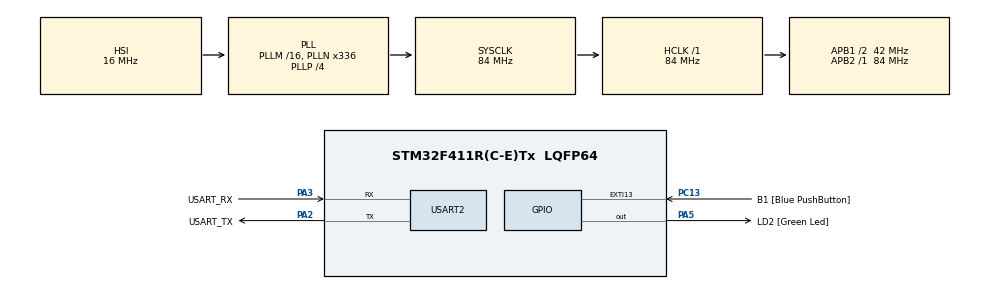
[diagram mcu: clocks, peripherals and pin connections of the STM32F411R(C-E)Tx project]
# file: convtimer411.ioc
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Mcu.Family=STM32F4
Mcu.Name=STM32F411R(C-E)Tx
Mcu.Package=LQFP64
NVIC.PriorityGroup=NVIC_PRIORITYGROUP_0
PA13.GPIO_Label=TMS
PA13.Mode=Serial_Wire
PA13.Signal=SYS_JTMS-SWDIO
PA14.GPIO_Label=TCK
PA14.Mode=Serial_Wire
PA14.Signal=SYS_JTCK-SWCLK
PA2.GPIO_Label=USART_TX
PA2.Mode=Asynchronous
PA2.Signal=USART2_TX
PA3.GPIO_Label=USART_RX
PA3.Mode=Asynchronous
PA3.Signal=USART2_RX
PA5.GPIO_Label=LD2 [Green Led]
PA5.Signal=GPIO_Output
PB3.GPIO_Label=SWO
PB3.Signal=SYS_JTDO-SWO
PC13-ANTI_TAMP.GPIO_Label=B1 [Blue PushButton]
PC13-ANTI_TAMP.GPIO_ModeDefaultEXTI=GPIO_MODE_IT_FALLING
PC13-ANTI_TAMP.Signal=GPXTI13
PC14-OSC32_IN.Mode=LSE-External-Oscillator
PC14-OSC32_IN.Signal=RCC_OSC32_IN
PC15-OSC32_OUT.Mode=LSE-External-Oscillator
PC15-OSC32_OUT.Signal=RCC_OSC32_OUT
PH0\ -\ OSC_IN.Mode=HSE-External-Clock-Source
PH0\ -\ OSC_IN.Signal=RCC_OSC_IN
PH1\ -\ OSC_OUT.Mode=HSE-External-Clock-Source
PH1\ -\ OSC_OUT.Signal=RCC_OSC_OUT
ProjectManager.HeapSize=0x200
ProjectManager.StackSize=0x400
ProjectManager.TargetToolchain=STM32CubeIDE
RCC.48MHZClocksFreq_Value=84000000
RCC.AHBFreq_Value=84000000
RCC.APB1CLKDivider=RCC_HCLK_DIV2
RCC.APB1Freq_Value=42000000
RCC.APB1TimFreq_Value=84000000
RCC.APB2Freq_Value=84000000
RCC.APB2TimFreq_Value=84000000
RCC.CortexFreq_Value=84000000
RCC.FLatency-AdvancedSettings=FLASH_LATENCY_2
RCC.HCLKFreq_Value=84000000
RCC.HSE_VALUE=8000000
RCC.HSI_VALUE=16000000
RCC.PLLN=336
RCC.PLLP=RCC_PLLP_DIV4
RCC.SYSCLKFreq_VALUE=84000000
RCC.SYSCLKSource=RCC_SYSCLKSOURCE_PLLCLK
RCC.VCOOutputFreq_Value=336000000
TIM2.Period=999
TIM2.Prescaler=31999
USART2.VirtualMode=VM_ASYNC
VP_TIM2_VS_ClockSourceINT.Mode=Internal
board=NUCLEO-F411RE

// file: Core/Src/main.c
/* USER CODE BEGIN Header */
/**
  ******************************************************************************
  * @file           : main.c
  * @brief          : Main program body
  ******************************************************************************
  * @attention
  *
  * Copyright (c) 2025 STMicroelectronics.
  * All rights reserved.
  *
  * This software is licensed under terms that can be found in the LICENSE file
  * in the root directory of this software component.
  * If no LICENSE file comes with this software, it is provided AS-IS.
  *
  ******************************************************************************
  */
/* USER CODE END Header */
#include "main.h"

/* USER CODE BEGIN Includes */
#include <string.h>
#include <math.h>
/* USER CODE END Includes */

/* USER CODE BEGIN PD */

/**
 * @brief Dimensão total do bloco recebido (com borda), 10×10 pixels.
 */
#define IMG_WIDTH_TOTAL   10
#define IMG_HEIGHT_TOTAL  10

/**
 * @brief Dimensão útil da imagem onde a convolução é aplicada (8×8 pixels).
 */
#define IMG_WIDTH_USEFUL  8
#define IMG_HEIGHT_USEFUL 8

/**
 * @brief Quantidade de bytes recebidos por bloco (imagem completa 10×10).
 */
#define BLOCK_RX_SIZE (IMG_WIDTH_TOTAL * IMG_HEIGHT_TOTAL)

/**
 * @brief Quantidade de bytes enviados após processamento (imagem 8×8).
 */
#define BLOCK_TX_SIZE (IMG_WIDTH_USEFUL * IMG_HEIGHT_USEFUL)

/* USER CODE END PD */

TIM_HandleTypeDef htim2;
UART_HandleTypeDef huart2;

/* USER CODE BEGIN PV */

/**
 * @brief Buffer de recepção contendo imagem 10×10 enviada pelo host.
 */
uint8_t rx_buffer[BLOCK_RX_SIZE];

/**
 * @brief Buffer de transmissão contendo imagem filtrada 8×8.
 */
uint8_t tx_buffer[BLOCK_TX_SIZE];

/**
 * @brief Sequência de reconhecimento (ACK). Enviada antes e depois de cada bloco.
 */
uint8_t ack[2] = { 0xAA, 0x55 };

uint32_t t_start, t_end, t_exec_us;

/**
 * @brief Kernel 3×3 utilizado no processamento.
 */
// Índices: 0  1  2  3  4
// Pesos:  -2 -1  0 +1 +2
static const int8_t weight_map[5] = { -2, -1, 0, 1, 2 };

/**
 * @brief LUT para multiplicação pixel × peso do kernel Sobel.
 * Dimensão: [256][5]
 */
static int16_t mul_lut[256][5];

#define NUM_BLOCKS 144

const uint8_t FilterIdx[3][3] = {
    { 1, 2, 3 },  // -1, 0, +1
    { 0, 2, 4 },  // -2, 0, +2
    { 1, 2, 3 }
};

/**
 * @brief Inicializa a LUT de multiplicação pixel × peso.
 */
void init_mul_lut(void)
{
    for (int pixel = 0; pixel < 256; pixel++) {
        for (int w = 0; w < 5; w++) {
            mul_lut[pixel][w] = pixel * weight_map[w];
        }
    }
}

/* USER CODE END PV */

void SystemClock_Config(void);
static void MX_GPIO_Init(void);
static void MX_USART2_UART_Init(void);
static void MX_TIM2_Init(void);
/* USER CODE BEGIN PFP */

/**
 * @brief Aplica convolução 3×3 somente na área útil (8×8) da imagem.
 *
 * @param input   Imagem de entrada 10×10 (com bordas).
 * @param output  Imagem de saída 8×8 (somente região central).
 * @param filter  Kernel 3×3 a ser aplicado.
 *
 * @details
 * A função ignora os pixels da borda, deslocando o índice adequadamente para
 * mapear a região útil. Valores de saída são saturados para o intervalo [0, 255].
 */
/* USER CODE END PFP */

int main(void)
{
    init_mul_lut();

    /* MCU Configuration------------------------------------------------------*/

    /* Reset of all peripherals, Initializes the Flash interface and the Systick. */
    HAL_Init();

    /* Configure the system clock */
    SystemClock_Config();

    /* Initialize all configured peripherals */
    MX_GPIO_Init();
    MX_USART2_UART_Init();
    MX_TIM2_Init();

    HAL_TIM_Base_Start(&htim2);

    /* Infinite loop */
    while (1) {

        /* USER CODE BEGIN 3 */
        char msg[64];

        uint32_t t_start, t_end, t_exec_us;

        uint8_t img_in[IMG_HEIGHT_TOTAL][IMG_WIDTH_TOTAL];
        uint8_t img_out[IMG_HEIGHT_USEFUL][IMG_WIDTH_USEFUL];

        /* Inicializa imagem apenas uma vez */
        for (int i = 0; i < IMG_HEIGHT_TOTAL; i++) {
            for (int j = 0; j < IMG_WIDTH_TOTAL; j++) {
                img_in[i][j] = i + j;
            }
        }

        /* Zera o timer para evitar overflow acumulado */
        __HAL_TIM_SET_COUNTER(&htim2, 0);

        /* Início da medição */
        t_start = __HAL_TIM_GET_COUNTER(&htim2);

        /* Executa a convolução 1000 vezes */
        for (int k = 0; k < 1000; k++) {
            apply_convolution_lut(img_in, img_out, FilterIdx);
        }

        /* Fim da medição */
        t_end = __HAL_TIM_GET_COUNTER(&htim2);

        /* Tempo total (assumindo TIM2 configurado em 1 MHz → 1 tick = 1 µs) */
        t_exec_us = t_end - t_start;

        unsigned long medio_us_x1000 = (t_exec_us * 1000UL) / 1000UL;

        int len = snprintf(
            msg,
            sizeof(msg),
            "Total: %lu us | Medio: %lu.%03lu us\r\n",
            (unsigned long)t_exec_us,
            medio_us_x1000 / 1000,
            medio_us_x1000 % 1000
        );

        HAL_UART_Transmit(&huart2, (uint8_t *)msg, len, HAL_MAX_DELAY);
        /* USER CODE END 3 */
    }
}

void SystemClock_Config(void)
{
    RCC_OscInitTypeDef RCC_OscInitStruct = { 0 };
    RCC_ClkInitTypeDef RCC_ClkInitStruct = { 0 };

    /** Configure the main internal regulator output voltage */
    __HAL_RCC_PWR_CLK_ENABLE();
    __HAL_PWR_VOLTAGESCALING_CONFIG(PWR_REGULATOR_VOLTAGE_SCALE1);

    /** Initializes the RCC Oscillators according to the specified parameters */
    RCC_OscInitStruct.OscillatorType = RCC_OSCILLATORTYPE_HSI;
    RCC_OscInitStruct.HSIState = RCC_HSI_ON;
    RCC_OscInitStruct.HSICalibrationValue = RCC_HSICALIBRATION_DEFAULT;
    RCC_OscInitStruct.PLL.PLLState = RCC_PLL_ON;
    RCC_OscInitStruct.PLL.PLLSource = RCC_PLLSOURCE_HSI;
    RCC_OscInitStruct.PLL.PLLM = 16;
    RCC_OscInitStruct.PLL.PLLN = 336;
    RCC_OscInitStruct.PLL.PLLP = RCC_PLLP_DIV4;
    RCC_OscInitStruct.PLL.PLLQ = 4;

    if (HAL_RCC_OscConfig(&RCC_OscInitStruct) != HAL_OK) {
        Error_Handler();
    }

    /** Initializes the CPU, AHB and APB buses clocks */
    RCC_ClkInitStruct.ClockType =
        RCC_CLOCKTYPE_HCLK |
        RCC_CLOCKTYPE_SYSCLK |
        RCC_CLOCKTYPE_PCLK1 |
        RCC_CLOCKTYPE_PCLK2;

    RCC_ClkInitStruct.SYSCLKSource   = RCC_SYSCLKSOURCE_PLLCLK;
    RCC_ClkInitStruct.AHBCLKDivider  = RCC_SYSCLK_DIV1;
    RCC_ClkInitStruct.APB1CLKDivider = RCC_HCLK_DIV2;
    RCC_ClkInitStruct.APB2CLKDivider = RCC_HCLK_DIV1;

    if (HAL_RCC_ClockConfig(&RCC_ClkInitStruct, FLASH_LATENCY_2) != HAL_OK) {
        Error_Handler();
    }
}

static void MX_TIM2_Init(void)
{
    TIM_ClockConfigTypeDef sClockSourceConfig = { 0 };
    TIM_MasterConfigTypeDef sMasterConfig = { 0 };

    htim2.Instance = TIM2;
    htim2.Init.Prescaler         = 31999;
    htim2.Init.CounterMode       = TIM_COUNTERMODE_UP;
    htim2.Init.Period            = 999;
    htim2.Init.ClockDivision     = TIM_CLOCKDIVISION_DIV1;
    htim2.Init.AutoReloadPreload = TIM_AUTORELOAD_PRELOAD_DISABLE;

    if (HAL_TIM_Base_Init(&htim2) != HAL_OK) {
        Error_Handler();
    }

    sClockSourceConfig.ClockSource = TIM_CLOCKSOURCE_INTERNAL;

    if (HAL_TIM_ConfigClockSource(&htim2, &sClockSourceConfig) != HAL_OK) {
        Error_Handler();
    }

    sMasterConfig.MasterOutputTrigger = TIM_TRGO_RESET;
    sMasterConfig.MasterSlaveMode     = TIM_MASTERSLAVEMODE_DISABLE;

    if (HAL_TIMEx_MasterConfigSynchronization(&htim2, &sMasterConfig) != HAL_OK) {
        Error_Handler();
    }
}

static void MX_USART2_UART_Init(void)
{
    huart2.Instance        = USART2;
    huart2.Init.BaudRate   = 115200;
    huart2.Init.WordLength = UART_WORDLENGTH_8B;
    huart2.Init.StopBits   = UART_STOPBITS_1;
    huart2.Init.Parity     = UART_PARITY_NONE;
    huart2.Init.Mode       = UART_MODE_TX_RX;
    huart2.Init.HwFlowCtl  = UART_HWCONTROL_NONE;
    huart2.Init.OverSampling = UART_OVERSAMPLING_16;

    if (HAL_UART_Init(&huart2) != HAL_OK) {
        Error_Handler();
    }
}

static void MX_GPIO_Init(void)
{
    GPIO_InitTypeDef GPIO_InitStruct = { 0 };

    /* GPIO Ports Clock Enable */
    __HAL_RCC_GPIOC_CLK_ENABLE();
    __HAL_RCC_GPIOH_CLK_ENABLE();
    __HAL_RCC_GPIOA_CLK_ENABLE();
    __HAL_RCC_GPIOB_CLK_ENABLE();

    /* Configure GPIO pin Output Level */
    HAL_GPIO_WritePin(LD2_GPIO_Port, LD2_Pin, GPIO_PIN_RESET);

    /* Configure GPIO pin : B1_Pin */
    GPIO_InitStruct.Pin  = B1_Pin;
    GPIO_InitStruct.Mode = GPIO_MODE_IT_FALLING;
    GPIO_InitStruct.Pull = GPIO_NOPULL;
    HAL_GPIO_Init(B1_GPIO_Port, &GPIO_InitStruct);

    /* Configure GPIO pin : LD2_Pin */
    GPIO_InitStruct.Pin   = LD2_Pin;
    GPIO_InitStruct.Mode  = GPIO_MODE_OUTPUT_PP;
    GPIO_InitStruct.Pull  = GPIO_NOPULL;
    GPIO_InitStruct.Speed = GPIO_SPEED_FREQ_LOW;
    HAL_GPIO_Init(LD2_GPIO_Port, &GPIO_InitStruct);
}

/* USER CODE BEGIN 4 */
/* ========================================================================== */
/* ========================== Função de convolução =========================== */
/* ========================================================================== */
void apply_convolution_lut(uint8_t input[IMG_HEIGHT_TOTAL][IMG_WIDTH_TOTAL],
                           uint8_t output[IMG_HEIGHT_USEFUL][IMG_WIDTH_USEFUL],
                           const uint8_t filter_idx[3][3])
{
    for (int i = 1; i < IMG_HEIGHT_TOTAL - 1; i++) {
        for (int j = 1; j < IMG_WIDTH_TOTAL - 1; j++) {

            int out_i = i - 1;
            int out_j = j - 1;

            if (out_i >= IMG_HEIGHT_USEFUL || out_j >= IMG_WIDTH_USEFUL) {
                continue;
            }

            int sum = 0;

            for (int ki = -1; ki <= 1; ki++) {
                for (int kj = -1; kj <= 1; kj++) {

                    uint8_t pixel = input[i + ki][j + kj];
                    uint8_t idx   = filter_idx[ki + 1][kj + 1];

                    sum += mul_lut[pixel][idx];
                }
            }

            /* Saturação */
            if (sum < 0)   sum = 0;
            if (sum > 255) sum = 255;

            output[out_i][out_j] = (uint8_t)sum;
        }
    }
}
/* USER CODE END 4 */

void Error_Handler(void)
{
    __disable_irq();
    while (1) {
    }
}
